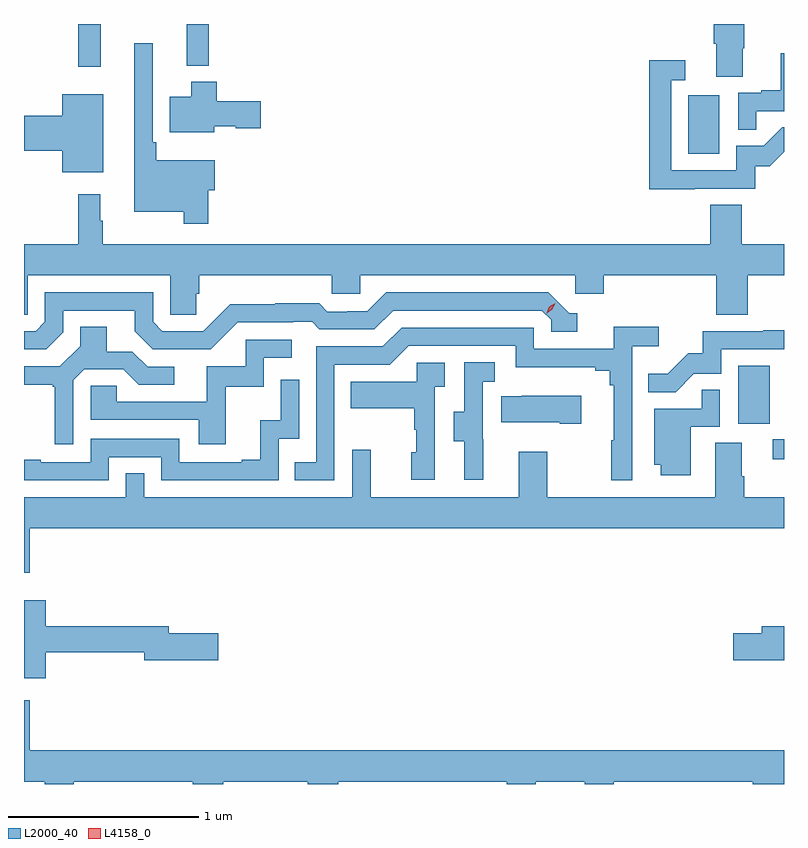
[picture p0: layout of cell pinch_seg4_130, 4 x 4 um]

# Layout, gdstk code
import gdstk
lib = gdstk.Library(unit=1e-6, precision=1e-09)
def R(c, l, rs):  # rectangles x0, y0, x1, y1
    for r in rs: c.add(gdstk.rectangle(r[:2], r[2:], *l))
def P(c, l, *ps):  # polygons
    for p in ps: c.add(gdstk.Polygon(p, *l))
L2000_40 = (2000, 40)
L4158_0 = (4158, 0)

pinch_seg4_130 = lib.new_cell('pinch_seg4_130')
R(pinch_seg4_130, L2000_40, [(1046.217,798.516,1046.276,798.621), (1046.036,798.702,1046.2,799.009), (1045.772,800.124,1045.936,800.431), (1042.561,800.583,1042.679,800.807), (1043.132,800.588,1043.249,800.807)])
P(pinch_seg4_130, L2000_40, [(1046.059,800.679),(1046.067,800.679),(1046.067,800.807),(1045.907,800.807),(1045.907,800.704),(1045.919,800.704),(1045.919,800.53),(1046.059,800.53)],
  [(1043.246,799.931),(1043.281,799.931),(1043.281,800.089),(1042.973,800.089),(1042.973,800.185),(1042.953,800.185),(1042.953,800.707),(1042.856,800.707),(1042.856,799.82),(1043.118,799.82),(1043.118,799.755),(1043.246,799.755)],
  [(1046.129,800.349),(1046.276,800.349),(1046.276,800.653),(1046.258,800.653),(1046.258,800.458),(1046.155,800.458),(1046.155,800.445),(1046.034,800.445),(1046.034,800.251),(1046.129,800.251)],
  [(1045.805,799.941),(1046.124,799.941),(1046.124,800.058),(1046.2,800.058),(1046.276,800.134),(1046.276,800.264),(1046.268,800.264),(1046.17,800.166),(1046.025,800.166),(1046.025,800.037),(1045.683,800.037),(1045.683,800.511),(1045.756,800.511),(1045.756,800.617),(1045.567,800.617),(1045.567,799.936),(1045.805,799.936)],
  [(1043.278,800.27),(1043.391,800.27),(1043.391,800.258),(1043.521,800.258),(1043.521,800.4),(1043.291,800.4),(1043.291,800.503),(1043.156,800.503),(1043.156,800.425),(1043.042,800.425),(1043.042,800.237),(1043.278,800.237)],
  [(1042.693,800.437),(1042.478,800.437),(1042.478,800.324),(1042.276,800.324),(1042.276,800.141),(1042.478,800.141),(1042.478,800.027),(1042.693,800.027)],
  [(1042.296,799.484),(1043.046,799.484),(1043.046,799.276),(1043.183,799.276),(1043.183,799.386),(1043.198,799.386),(1043.198,799.484),(1043.895,799.484),(1043.895,799.386),(1044.045,799.386),(1044.045,799.484),(1045.176,799.484),(1045.176,799.386),(1045.328,799.386),(1045.328,799.484),(1045.919,799.484),(1045.919,799.276),(1046.084,799.276),(1046.084,799.484),(1046.276,799.484),(1046.276,799.648),(1046.054,799.648),(1046.054,799.856),(1045.889,799.856),(1045.889,799.648),(1042.69,799.648),(1042.69,799.772),(1042.678,799.772),(1042.678,799.912),(1042.561,799.912),(1042.561,799.648),(1042.276,799.648),(1042.276,799.276),(1042.296,799.276)],
  [(1042.482,799.185),(1042.482,799.299),(1042.859,799.299),(1042.859,799.189),(1042.953,799.095),(1043.259,799.095),(1043.4,799.236),(1043.693,799.236),(1043.693,799.239),(1043.792,799.239),(1043.831,799.2),(1044.12,799.2),(1044.219,799.299),(1045.002,799.299),(1045.05,799.251),(1045.05,799.188),(1045.189,799.188),(1045.189,799.284),(1045.146,799.284),(1045.035,799.395),(1044.182,799.395),(1044.083,799.296),(1043.976,799.296),(1043.976,799.293),(1043.873,799.293),(1043.831,799.336),(1043.598,799.336),(1043.598,799.333),(1043.362,799.333),(1043.22,799.191),(1043.004,799.191),(1042.956,799.239),(1042.956,799.395),(1042.386,799.395),(1042.386,799.239),(1042.338,799.191),(1042.276,799.191),(1042.276,799.095),(1042.392,799.095)],
  [(1042.536,798.933),(1042.593,798.99),(1042.799,798.99),(1042.88,798.909),(1043.068,798.909),(1043.068,799.002),(1042.926,799.002),(1042.846,799.082),(1042.711,799.082),(1042.711,799.214),(1042.571,799.214),(1042.571,799.112),(1042.464,799.005),(1042.276,799.005),(1042.276,798.908),(1042.428,798.908),(1042.428,798.897),(1042.439,798.897),(1042.439,798.594),(1042.536,798.594)],
  [(1043.91,799.014),(1044.201,799.014),(1044.3,799.113),(1044.864,799.113),(1044.864,799.001),(1045.283,799.001),(1045.283,798.982),(1045.36,798.982),(1045.36,798.905),(1045.379,798.905),(1045.379,798.617),(1045.368,798.617),(1045.368,798.405),(1045.476,798.405),(1045.476,799.112),(1045.618,799.112),(1045.618,799.214),(1045.379,799.214),(1045.379,799.098),(1044.96,799.098),(1044.96,799.209),(1044.263,799.209),(1044.164,799.11),(1043.814,799.11),(1043.814,798.501),(1043.701,798.501),(1043.701,798.405),(1043.91,798.405)],
  [(1045.802,798.966),(1045.947,798.966),(1045.947,799.095),(1046.276,799.095),(1046.276,799.196),(1046.167,799.196),(1046.167,799.191),(1045.849,799.191),(1045.849,799.074),(1045.772,799.074),(1045.665,798.967),(1045.561,798.967),(1045.561,798.869),(1045.705,798.869)],
  [(1043.339,798.897),(1043.538,798.897),(1043.538,799.05),(1043.686,799.05),(1043.686,799.146),(1043.442,799.146),(1043.442,799.005),(1043.237,799.005),(1043.237,798.819),(1042.763,798.819),(1042.763,798.903),(1042.626,798.903),(1042.626,798.723),(1043.195,798.723),(1043.195,798.594),(1043.339,798.594)],
  [(1044.692,798.621),(1044.69,798.621),(1044.69,798.925),(1044.754,798.925),(1044.754,799.028),(1044.594,799.028),(1044.594,798.765),(1044.539,798.765),(1044.539,798.61),(1044.593,798.61),(1044.593,798.408),(1044.692,798.408)],
  [(1044.438,798.899),(1044.49,798.899),(1044.49,799.023),(1044.342,799.023),(1044.342,798.925),(1043.995,798.925),(1043.995,798.785),(1044.33,798.785),(1044.33,798.671),(1044.34,798.671),(1044.34,798.552),(1044.314,798.552),(1044.314,798.408),(1044.438,798.408)],
  [(1042.722,798.528),(1042.998,798.528),(1042.998,798.405),(1043.616,798.405),(1043.616,798.624),(1043.724,798.624),(1043.724,798.934),(1043.628,798.934),(1043.628,798.722),(1043.519,798.722),(1043.519,798.514),(1043.423,798.514),(1043.423,798.501),(1043.094,798.501),(1043.094,798.624),(1042.626,798.624),(1042.626,798.501),(1042.363,798.501),(1042.363,798.514),(1042.276,798.514),(1042.276,798.405),(1042.722,798.405)],
  [(1045.786,798.687),(1045.938,798.687),(1045.938,798.881),(1045.843,798.881),(1045.843,798.783),(1045.592,798.783),(1045.592,798.488),(1045.628,798.488),(1045.628,798.432),(1045.786,798.432)],
  [(1045.21,798.85),(1044.895,798.85),(1044.895,798.847),(1044.787,798.847),(1044.787,798.71),(1045.097,798.71),(1045.097,798.703),(1045.21,798.703)],
  [(1042.307,798.152),(1046.276,798.152),(1046.276,798.316),(1046.066,798.316),(1046.066,798.428),(1046.053,798.428),(1046.053,798.602),(1045.913,798.602),(1045.913,798.316),(1045.029,798.316),(1045.029,798.556),(1044.881,798.556),(1044.881,798.316),(1044.101,798.316),(1044.101,798.565),(1044.003,798.565),(1044.003,798.316),(1042.908,798.316),(1042.908,798.443),(1042.812,798.443),(1042.812,798.316),(1042.276,798.316),(1042.276,797.919),(1042.307,797.919)],
  [(1042.39,797.5),(1042.91,797.5),(1042.91,797.458),(1043.299,797.458),(1043.299,797.6),(1043.038,797.6),(1043.038,797.636),(1042.39,797.636),(1042.39,797.773),(1042.276,797.773),(1042.276,797.363),(1042.39,797.363)],
  [(1046.276,797.636),(1046.159,797.636),(1046.159,797.6),(1046.01,797.6),(1046.01,797.458),(1046.276,797.458)],
  [(1042.538,796.82),(1043.165,796.82),(1043.165,796.807),(1043.325,796.807),(1043.325,796.82),(1043.77,796.82),(1043.77,796.807),(1043.93,796.807),(1043.93,796.82),(1044.818,796.82),(1044.818,796.807),(1044.97,796.807),(1044.97,796.82),(1045.226,796.82),(1045.226,796.807),(1045.379,796.807),(1045.379,796.82),(1046.111,796.82),(1046.111,796.807),(1046.276,796.807),(1046.276,796.984),(1042.307,796.984),(1042.307,797.248),(1042.276,797.248),(1042.276,796.82),(1042.385,796.82),(1042.385,796.807),(1042.538,796.807)])
P(pinch_seg4_130, L4158_0, [(1045.026,799.285),(1045.026,799.285),(1045.041,799.318),(1045.072,799.338),(1045.072,799.338),(1045.072,799.338),(1045.056,799.305),(1045.026,799.285)])

lib.write_gds('pinch_seg4_130.gds')
